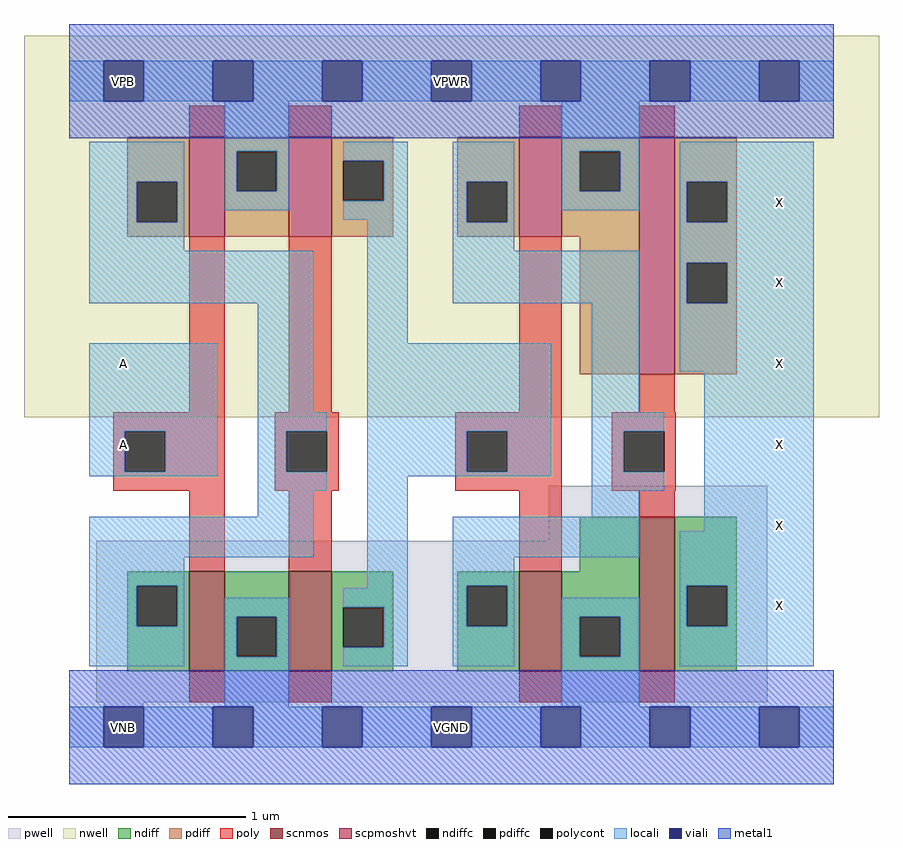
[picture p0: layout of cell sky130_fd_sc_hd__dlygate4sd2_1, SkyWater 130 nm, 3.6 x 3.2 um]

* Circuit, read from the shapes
.subckt sky130_fd_sc_hd__dlygate4sd2_1 A VGND VNB VPB VPWR X
XM1 VGND A n1 VNB sky130_fd_pr__nfet_01v8 w=0.42 l=0.15
XM2 n2 n1 VGND VNB sky130_fd_pr__nfet_01v8 w=0.42 l=0.18
XM3 VGND n2 n3 VNB sky130_fd_pr__nfet_01v8 w=0.42 l=0.18
XM4 X n3 VGND VNB sky130_fd_pr__nfet_01v8 w=0.65 l=0.15
XM5 VPWR A n1 VPB sky130_fd_pr__pfet_01v8_hvt w=0.42 l=0.15
XM6 n2 n1 VPWR VPB sky130_fd_pr__pfet_01v8_hvt w=0.42 l=0.18
XM7 VPWR n2 n3 VPB sky130_fd_pr__pfet_01v8_hvt w=0.42 l=0.18
XM8 X n3 VPWR VPB sky130_fd_pr__pfet_01v8_hvt w=1 l=0.15
.ends

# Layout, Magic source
magic
tech sky130A
magscale 1 2
<< nwell >>
rect -38 261 682 582
<< pwell >>
rect 404 157 588 203
rect 23 21 588 157
rect 29 -17 63 21
<< scnmos >>
rect 101 47 131 131
rect 185 47 221 131
rect 379 47 415 131
rect 480 47 510 177
<< scpmoshvt >>
rect 101 413 131 497
rect 185 413 221 497
rect 379 413 415 497
rect 480 297 510 497
<< ndiff >>
rect 430 131 480 177
rect 49 119 101 131
rect 49 85 57 119
rect 91 85 101 119
rect 49 47 101 85
rect 131 93 185 131
rect 131 59 141 93
rect 175 59 185 93
rect 131 47 185 59
rect 221 101 273 131
rect 221 67 231 101
rect 265 67 273 101
rect 221 47 273 67
rect 327 119 379 131
rect 327 85 335 119
rect 369 85 379 119
rect 327 47 379 85
rect 415 93 480 131
rect 415 59 430 93
rect 464 59 480 93
rect 415 47 480 59
rect 510 119 562 177
rect 510 85 520 119
rect 554 85 562 119
rect 510 47 562 85
<< pdiff >>
rect 49 459 101 497
rect 49 425 57 459
rect 91 425 101 459
rect 49 413 101 425
rect 131 485 185 497
rect 131 451 141 485
rect 175 451 185 485
rect 131 413 185 451
rect 221 477 273 497
rect 221 443 231 477
rect 265 443 273 477
rect 221 413 273 443
rect 327 459 379 497
rect 327 425 335 459
rect 369 425 379 459
rect 327 413 379 425
rect 415 485 480 497
rect 415 451 430 485
rect 464 451 480 485
rect 415 413 480 451
rect 430 297 480 413
rect 510 459 562 497
rect 510 425 520 459
rect 554 425 562 459
rect 510 391 562 425
rect 510 357 520 391
rect 554 357 562 391
rect 510 297 562 357
<< ndiffc >>
rect 57 85 91 119
rect 141 59 175 93
rect 231 67 265 101
rect 335 85 369 119
rect 430 59 464 93
rect 520 85 554 119
<< pdiffc >>
rect 57 425 91 459
rect 141 451 175 485
rect 231 443 265 477
rect 335 425 369 459
rect 430 451 464 485
rect 520 425 554 459
rect 520 357 554 391
<< poly >>
rect 101 497 131 523
rect 185 497 221 523
rect 379 497 415 523
rect 480 497 510 523
rect 101 265 131 413
rect 185 265 221 413
rect 379 265 415 413
rect 480 265 510 297
rect 37 249 131 265
rect 37 215 47 249
rect 81 215 131 249
rect 37 199 131 215
rect 173 249 227 265
rect 173 215 183 249
rect 217 215 227 249
rect 173 199 227 215
rect 325 249 415 265
rect 325 215 335 249
rect 369 215 415 249
rect 325 199 415 215
rect 457 249 511 265
rect 457 215 467 249
rect 501 215 511 249
rect 457 199 511 215
rect 101 131 131 199
rect 185 131 221 199
rect 379 131 415 199
rect 480 177 510 199
rect 101 21 131 47
rect 185 21 221 47
rect 379 21 415 47
rect 480 21 510 47
<< polycont >>
rect 47 215 81 249
rect 183 215 217 249
rect 335 215 369 249
rect 467 215 501 249
<< locali >>
rect 0 527 29 561
rect 63 527 121 561
rect 155 527 213 561
rect 247 527 305 561
rect 339 527 397 561
rect 431 527 489 561
rect 523 527 581 561
rect 615 527 644 561
rect 17 459 97 493
rect 17 425 57 459
rect 91 425 97 459
rect 131 485 185 527
rect 131 451 141 485
rect 175 451 185 485
rect 131 435 185 451
rect 231 477 285 493
rect 265 443 285 477
rect 231 427 285 443
rect 17 401 97 425
rect 17 357 206 401
rect 17 249 125 323
rect 17 215 47 249
rect 81 215 125 249
rect 17 211 125 215
rect 159 265 206 357
rect 251 323 285 427
rect 323 459 375 493
rect 323 425 335 459
rect 369 425 375 459
rect 415 485 480 527
rect 415 451 430 485
rect 464 451 480 485
rect 415 435 480 451
rect 514 459 627 493
rect 323 401 375 425
rect 514 425 520 459
rect 554 425 627 459
rect 323 357 480 401
rect 159 249 217 265
rect 159 215 183 249
rect 159 199 217 215
rect 251 249 406 323
rect 251 215 335 249
rect 369 215 406 249
rect 251 211 406 215
rect 440 265 480 357
rect 514 391 627 425
rect 514 357 520 391
rect 554 357 627 391
rect 514 299 627 357
rect 440 249 501 265
rect 440 215 467 249
rect 159 177 206 199
rect 17 143 206 177
rect 17 119 97 143
rect 17 85 57 119
rect 91 85 97 119
rect 251 117 285 211
rect 440 199 501 215
rect 440 177 480 199
rect 17 51 97 85
rect 131 93 185 109
rect 131 59 141 93
rect 175 59 185 93
rect 131 17 185 59
rect 231 101 285 117
rect 265 67 285 101
rect 231 51 285 67
rect 323 143 480 177
rect 535 165 627 299
rect 323 119 375 143
rect 323 85 335 119
rect 369 85 375 119
rect 514 119 627 165
rect 323 51 375 85
rect 415 93 480 109
rect 415 59 430 93
rect 464 59 480 93
rect 415 17 480 59
rect 514 85 520 119
rect 554 85 627 119
rect 514 51 627 85
rect 0 -17 29 17
rect 63 -17 121 17
rect 155 -17 213 17
rect 247 -17 305 17
rect 339 -17 397 17
rect 431 -17 489 17
rect 523 -17 581 17
rect 615 -17 644 17
<< viali >>
rect 29 527 63 561
rect 121 527 155 561
rect 213 527 247 561
rect 305 527 339 561
rect 397 527 431 561
rect 489 527 523 561
rect 581 527 615 561
rect 29 -17 63 17
rect 121 -17 155 17
rect 213 -17 247 17
rect 305 -17 339 17
rect 397 -17 431 17
rect 489 -17 523 17
rect 581 -17 615 17
<< metal1 >>
rect 0 561 644 592
rect 0 527 29 561
rect 63 527 121 561
rect 155 527 213 561
rect 247 527 305 561
rect 339 527 397 561
rect 431 527 489 561
rect 523 527 581 561
rect 615 527 644 561
rect 0 496 644 527
rect 0 17 644 48
rect 0 -17 29 17
rect 63 -17 121 17
rect 155 -17 213 17
rect 247 -17 305 17
rect 339 -17 397 17
rect 431 -17 489 17
rect 523 -17 581 17
rect 615 -17 644 17
rect 0 -48 644 -17
<< labels >>
flabel nwell s 29 527 63 561 0 FreeSans 200 0 0 0 VPB
port 4 nsew power bidirectional
flabel pwell s 29 -17 63 17 0 FreeSans 200 0 0 0 VNB
port 3 nsew ground bidirectional
flabel metal1 s 29 -17 63 17 0 FreeSans 200 0 0 0 VGND
port 2 nsew ground bidirectional abutment
flabel metal1 s 29 527 63 561 0 FreeSans 200 0 0 0 VPWR
port 5 nsew power bidirectional abutment
flabel locali s 581 85 615 119 0 FreeSans 200 0 0 0 X
port 6 nsew signal output
flabel locali s 581 425 615 459 0 FreeSans 200 0 0 0 X
port 6 nsew signal output
flabel locali s 581 289 615 323 0 FreeSans 200 0 0 0 X
port 6 nsew signal output
flabel locali s 29 221 63 255 0 FreeSans 200 0 0 0 A
port 1 nsew signal input
flabel locali s 29 289 63 323 0 FreeSans 200 0 0 0 A
port 1 nsew signal input
flabel locali s 581 153 615 187 0 FreeSans 200 0 0 0 X
port 6 nsew signal output
flabel locali s 581 221 615 255 0 FreeSans 200 0 0 0 X
port 6 nsew signal output
flabel locali s 581 357 615 391 0 FreeSans 200 0 0 0 X
port 6 nsew signal output
rlabel comment s 0 0 0 0 4 dlygate4sd2_1
rlabel metal1 s 0 -48 644 48 1 VGND
port 2 nsew ground bidirectional abutment
rlabel metal1 s 0 496 644 592 1 VPWR
port 5 nsew power bidirectional abutment
<< properties >>
string FIXED_BBOX 0 0 644 544
string GDS_END 2888148
string GDS_FILE $PDKPATH/libs.ref/sky130_fd_sc_hd/gds/sky130_fd_sc_hd.gds
string GDS_START 2882288
string LEFclass CORE
string LEFsite unithd
string LEFsymmetry X Y R90
string path 0.000 0.000 16.100 0.000 
<< end >>
